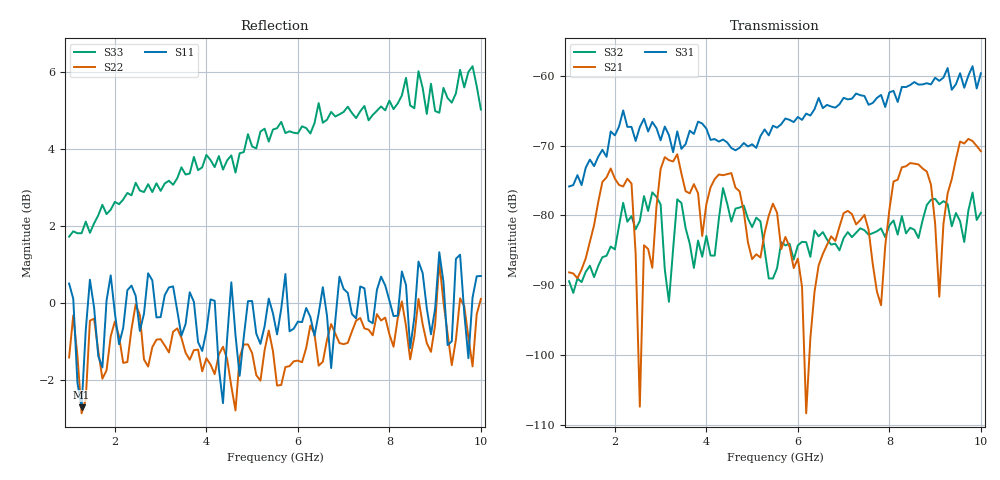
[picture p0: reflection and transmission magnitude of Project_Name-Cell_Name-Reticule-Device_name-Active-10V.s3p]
#  HZ  S  DB  R  50.00
! Rohde & Schwarz Vector Network Analyzer
! Rohde-Schwarz,ZNA67-4Port,1332450064101810,2.73
! Created: UTC 3/17/2026, 12:03:34 PM
! freq[Hz]  db:S11  ang:S11  db:S12  ang:S12  db:S13  ang:S13
!  db:S21  ang:S21  db:S22  ang:S22  db:S23  ang:S23
!  db:S31  ang:S31  db:S32  ang:S32  db:S33  ang:S33
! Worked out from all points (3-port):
!   100 points, 1 GHz to 10 GHz, reference 50 ohm
!   strongest paths, dB at 1 GHz, 3.273 GHz, 5.545 GHz, 7.818 GHz, 10 GHz:
!     S31: -75.8, -70.9, -67.4, -62.7, -59.6
!     S21: -88.2, -72.3, -79.6, -92.9, -70.8
!     S32: -89.4, -84.8, -87.6, -81.9, -79.6
!   lowest |S11| = -2.7 dB at 1.273 GHz (marker M1), VSWR 6.47, Z = 10.6 - j30 ohm
!   |S11| at or under -10 dB: nowhere
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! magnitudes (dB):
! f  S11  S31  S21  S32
! 1 GHz  0.5  -75.8  -88.2  -89.4
! 1.273 GHz  -2.7  -75.6  -87.7  -89.5
! 2.182 GHz  -0.6  -65.0  -75.8  -78.2
! 2.455 GHz  0.2  -69.3  -85.5  -82.0
! 5.545 GHz  -0.8  -67.4  -79.6  -87.6
! 8 GHz  0.1  -62.4  -79.2  -81.4
! 8.455 GHz  -1.2  -61.3  -72.5  -81.8
! 9.182 GHz  0.5  -60.3  -81.2  -77.9
! 9.545 GHz  1.3  -59.6  -69.4  -80.8
! 10 GHz  0.7  -59.6  -70.8  -79.6
